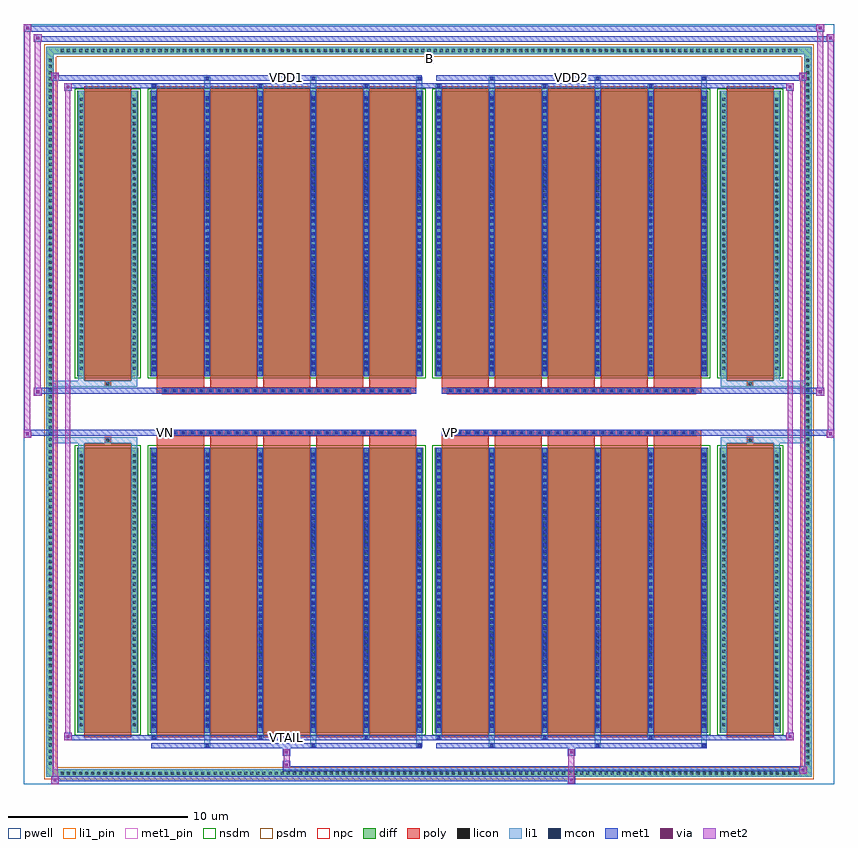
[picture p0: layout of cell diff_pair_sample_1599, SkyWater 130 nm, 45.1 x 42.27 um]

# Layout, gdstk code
import gdstk
lib = gdstk.Library(unit=1e-6, precision=5e-09)
def R(c, l, rs):  # rectangles x0, y0, x1, y1
    for r in rs: c.add(gdstk.rectangle(r[:2], r[2:], *l))
def A(c, l, x, y, w, h, nx, ny, dx, dy):  # array of equal rectangles
    R(c, l, [(x+i*dx, y+j*dy, x+i*dx+w, y+j*dy+h) for i in range(nx) for j in range(ny)])
def P(c, l, *ps):  # polygons
    for p in ps: c.add(gdstk.Polygon(p, *l))
pwell = (64, 44)
diff = (65, 20)
poly = (66, 20)
licon = (66, 44)
li1_pin = (67, 16)
li1 = (67, 20)
mcon = (67, 44)
met1_pin = (68, 16)
met1 = (68, 20)
via = (68, 44)
met2 = (69, 20)
nsdm = (93, 44)
psdm = (94, 20)
npc = (95, 20)

diff_pair_sample_1599 = lib.new_cell('diff_pair_sample_1599')
R(diff_pair_sample_1599, pwell, [(-22.55,-20.7,22.55,21.57), (-19.87,-18.89,-0.01,-0.805), (0.01,-18.89,19.87,-0.805), (-19.87,0.805,-0.01,18.89), (0.01,0.805,19.87,18.89)])
A(diff_pair_sample_1599, diff, -20.605, -20.3, 0.41, 0.41, 121, 2, 0.34, 40.19)
A(diff_pair_sample_1599, diff, -21.28, -19.755, 0.41, 0.41, 1, 116, 0, 0.34)
A(diff_pair_sample_1599, diff, 20.87, -19.755, 0.41, 0.41, 1, 116, 0, 0.34)
R(diff_pair_sample_1599, diff, [(-20.605,-20.3,20.605,-19.89), (-21.28,-19.755,-20.87,19.755), (20.87,-19.755,21.28,19.755), (-19.56,-17.845,-16.16,-1.985), (-15.52,-17.845,-0.32,-1.985), (0.32,-17.845,15.52,-1.985), (16.16,-17.845,19.56,-1.985), (-19.56,1.985,-16.16,17.845), (-15.52,1.985,-0.32,17.845), (0.32,1.985,15.52,17.845), (16.16,1.985,19.56,17.845), (-20.605,19.89,20.605,20.3)])
P(diff_pair_sample_1599, diff, [(21.28,20.3),(-21.28,20.3),(-21.28,-19.89),(-20.87,-19.89),(-20.87,19.89),(20.87,19.89),(20.87,-19.89),(-20.87,-19.89),(-21.28,-19.89),(-21.28,-20.3),(21.28,-20.3)])
A(diff_pair_sample_1599, poly, -15.13, -18.095, 2.62, 16.36, 5, 2, 2.95, 19.83)
A(diff_pair_sample_1599, poly, 0.71, -18.095, 2.62, 16.36, 5, 2, 2.95, 19.83)
A(diff_pair_sample_1599, poly, -15.13, -1.735, 2.62, 0.4, 5, 2, 2.95, 3.07)
A(diff_pair_sample_1599, poly, 0.71, -1.735, 2.62, 0.4, 5, 2, 2.95, 3.07)
A(diff_pair_sample_1599, poly, -14.835, -1.335, 0.33, 0.33, 28, 2, 0.5, 2.34)
A(diff_pair_sample_1599, poly, 1.005, -1.335, 0.33, 0.33, 28, 2, 0.5, 2.34)
R(diff_pair_sample_1599, poly, [(-19.17,-18.095,-16.55,-1.735), (16.55,-18.095,19.17,-1.735), (-18.025,-1.735,-17.695,-1.405), (-18.025,-1.735,-17.695,-1.405), (17.695,-1.735,18.025,-1.405), (17.695,-1.735,18.025,-1.405), (-15.13,-1.335,-0.71,-1.005), (0.71,-1.335,15.13,-1.005), (-15.13,1.005,-0.71,1.335), (0.71,1.005,15.13,1.335), (-18.025,1.405,-17.695,1.735), (-18.025,1.405,-17.695,1.735), (17.695,1.405,18.025,1.735), (17.695,1.405,18.025,1.735), (-19.17,1.735,-16.55,18.095), (16.55,1.735,19.17,18.095)])
A(diff_pair_sample_1599, licon, -20.485, -20.18, 0.17, 0.17, 121, 2, 0.34, 40.19)
A(diff_pair_sample_1599, licon, -21.16, -19.635, 0.17, 0.17, 1, 116, 0, 0.34)
A(diff_pair_sample_1599, licon, 20.99, -19.635, 0.17, 0.17, 1, 116, 0, 0.34)
A(diff_pair_sample_1599, licon, -19.42, -17.48, 0.17, 0.17, 1, 45, 0, 0.34)
A(diff_pair_sample_1599, licon, -16.47, -17.48, 0.17, 0.17, 1, 45, 0, 0.34)
A(diff_pair_sample_1599, licon, -15.38, -17.48, 0.17, 0.17, 6, 45, 2.95, 0.34)
A(diff_pair_sample_1599, licon, 0.46, -17.48, 0.17, 0.17, 6, 45, 2.95, 0.34)
A(diff_pair_sample_1599, licon, 16.3, -17.48, 0.17, 0.17, 1, 45, 0, 0.34)
A(diff_pair_sample_1599, licon, 19.25, -17.48, 0.17, 0.17, 1, 45, 0, 0.34)
A(diff_pair_sample_1599, licon, -14.755, -1.255, 0.17, 0.17, 28, 2, 0.5, 2.34)
A(diff_pair_sample_1599, licon, 1.085, -1.255, 0.17, 0.17, 28, 2, 0.5, 2.34)
A(diff_pair_sample_1599, licon, -19.42, 2.35, 0.17, 0.17, 1, 45, 0, 0.34)
A(diff_pair_sample_1599, licon, -16.47, 2.35, 0.17, 0.17, 1, 45, 0, 0.34)
A(diff_pair_sample_1599, licon, -15.38, 2.35, 0.17, 0.17, 6, 45, 2.95, 0.34)
A(diff_pair_sample_1599, licon, 0.46, 2.35, 0.17, 0.17, 6, 45, 2.95, 0.34)
A(diff_pair_sample_1599, licon, 16.3, 2.35, 0.17, 0.17, 1, 45, 0, 0.34)
A(diff_pair_sample_1599, licon, 19.25, 2.35, 0.17, 0.17, 1, 45, 0, 0.34)
R(diff_pair_sample_1599, licon, [(-17.945,-1.655,-17.775,-1.485), (17.775,-1.655,17.945,-1.485), (-17.945,1.485,-17.775,1.655), (17.775,1.485,17.945,1.655)])
R(diff_pair_sample_1599, li1_pin, [(-0.25,19.39,0.25,19.89)])
A(diff_pair_sample_1599, li1, -20.565, -20.26, 0.33, 0.33, 121, 2, 0.34, 40.19)
A(diff_pair_sample_1599, li1, -21.24, -19.715, 0.33, 0.33, 1, 116, 0, 0.34)
A(diff_pair_sample_1599, li1, 20.91, -19.715, 0.33, 0.33, 1, 116, 0, 0.34)
A(diff_pair_sample_1599, li1, -12.51, -18.65, 0.33, 0.805, 3, 2, 5.9, 36.495)
A(diff_pair_sample_1599, li1, -12.43, -18.65, 0.17, 0.17, 3, 2, 5.9, 37.13)
A(diff_pair_sample_1599, li1, 3.33, -18.65, 0.33, 0.805, 3, 2, 5.9, 36.495)
A(diff_pair_sample_1599, li1, 3.41, -18.65, 0.17, 0.17, 3, 2, 5.9, 37.13)
A(diff_pair_sample_1599, li1, -15.46, -18.22, 0.33, 0.375, 3, 2, 5.9, 36.065)
A(diff_pair_sample_1599, li1, -15.38, -18.22, 0.17, 0.17, 3, 2, 5.9, 36.27)
A(diff_pair_sample_1599, li1, 0.38, -18.22, 0.33, 0.375, 3, 2, 5.9, 36.065)
A(diff_pair_sample_1599, li1, 0.46, -18.22, 0.17, 0.17, 3, 2, 5.9, 36.27)
A(diff_pair_sample_1599, li1, -15.46, -17.845, 0.33, 15.86, 6, 2, 2.95, 19.83)
A(diff_pair_sample_1599, li1, 0.38, -17.845, 0.33, 15.86, 6, 2, 2.95, 19.83)
A(diff_pair_sample_1599, li1, -19.5, -17.56, 0.33, 0.33, 1, 45, 0, 0.34)
A(diff_pair_sample_1599, li1, -16.55, -17.56, 0.33, 0.33, 1, 45, 0, 0.34)
A(diff_pair_sample_1599, li1, -15.46, -17.56, 0.33, 0.33, 6, 45, 2.95, 0.34)
A(diff_pair_sample_1599, li1, -15.38, -17.56, 0.17, 0.17, 6, 43, 2.95, 0.36)
A(diff_pair_sample_1599, li1, -15.38, -17.56, 0.17, 15.29, 6, 2, 2.95, 19.83)
A(diff_pair_sample_1599, li1, 0.38, -17.56, 0.33, 0.33, 6, 45, 2.95, 0.34)
A(diff_pair_sample_1599, li1, 0.46, -17.56, 0.17, 0.17, 6, 43, 2.95, 0.36)
A(diff_pair_sample_1599, li1, 0.46, -17.56, 0.17, 15.29, 6, 2, 2.95, 19.83)
A(diff_pair_sample_1599, li1, 16.22, -17.56, 0.33, 0.33, 1, 45, 0, 0.34)
A(diff_pair_sample_1599, li1, 19.17, -17.56, 0.33, 0.33, 1, 45, 0, 0.34)
A(diff_pair_sample_1599, li1, -14.835, -1.335, 0.33, 0.33, 28, 2, 0.5, 2.34)
A(diff_pair_sample_1599, li1, 1.005, -1.335, 0.33, 0.33, 28, 2, 0.5, 2.34)
A(diff_pair_sample_1599, li1, -19.5, 2.27, 0.33, 0.33, 1, 45, 0, 0.34)
A(diff_pair_sample_1599, li1, -16.55, 2.27, 0.33, 0.33, 1, 45, 0, 0.34)
A(diff_pair_sample_1599, li1, -15.46, 2.27, 0.33, 0.33, 6, 45, 2.95, 0.34)
A(diff_pair_sample_1599, li1, -15.38, 2.27, 0.17, 0.17, 6, 43, 2.95, 0.36)
A(diff_pair_sample_1599, li1, 0.38, 2.27, 0.33, 0.33, 6, 45, 2.95, 0.34)
A(diff_pair_sample_1599, li1, 0.46, 2.27, 0.17, 0.17, 6, 43, 2.95, 0.36)
A(diff_pair_sample_1599, li1, 16.22, 2.27, 0.33, 0.33, 1, 45, 0, 0.34)
A(diff_pair_sample_1599, li1, 19.17, 2.27, 0.33, 0.33, 1, 45, 0, 0.34)
R(diff_pair_sample_1599, li1, [(-21.28,-20.3,-20.87,-19.89), (-21.28,-20.3,-20.87,-19.89), (-20.87,-20.3,20.87,-19.89), (20.87,-20.3,21.28,-19.89), (20.87,-20.3,21.28,-19.89), (-21.28,-19.89,-20.87,19.89), (20.87,-19.89,21.28,19.89), (-19.5,-17.845,-19.17,-1.985), (-16.55,-17.845,-16.22,-1.985), (16.22,-17.845,16.55,-1.985), (19.17,-17.845,19.5,-1.985), (-19.5,-1.985,-19.17,-1.405), (-16.55,-1.985,-16.22,-1.405), (16.22,-1.985,16.55,-1.405), (19.17,-1.985,19.5,-1.405), (-21.28,-1.735,-18.025,-1.405), (-19.5,-1.735,-18.025,-1.405), (-18.025,-1.735,-17.695,-1.405), (-17.695,-1.735,-16.22,-1.405), (16.22,-1.735,17.695,-1.405), (17.695,-1.735,18.025,-1.405), (17.695,-1.735,21.28,-1.405), (18.025,-1.735,19.5,-1.405), (-21.28,1.405,-18.025,1.735), (-19.5,1.405,-18.025,1.735), (-19.5,1.405,-19.17,1.985), (-18.025,1.405,-17.695,1.735), (-17.695,1.405,-16.22,1.735), (-16.55,1.405,-16.22,1.985), (16.22,1.405,17.695,1.735), (16.22,1.405,16.55,1.985), (17.695,1.405,18.025,1.735), (17.695,1.405,21.28,1.735), (18.025,1.405,19.5,1.735), (19.17,1.405,19.5,1.985), (-19.5,1.985,-19.17,17.845), (-16.55,1.985,-16.22,17.845), (16.22,1.985,16.55,17.845), (19.17,1.985,19.5,17.845), (-21.28,19.89,-20.87,20.3), (-21.28,19.89,-20.87,20.3), (-20.87,19.89,20.87,20.3), (20.87,19.89,21.28,20.3), (20.87,19.89,21.28,20.3)])
A(diff_pair_sample_1599, mcon, -12.43, -18.65, 0.17, 0.17, 3, 2, 5.9, 37.13)
A(diff_pair_sample_1599, mcon, 3.41, -18.65, 0.17, 0.17, 3, 2, 5.9, 37.13)
A(diff_pair_sample_1599, mcon, -15.38, -18.22, 0.17, 0.17, 3, 2, 5.9, 36.27)
A(diff_pair_sample_1599, mcon, 0.46, -18.22, 0.17, 0.17, 3, 2, 5.9, 36.27)
A(diff_pair_sample_1599, mcon, -15.38, -17.56, 0.17, 0.17, 6, 43, 2.95, 0.36)
A(diff_pair_sample_1599, mcon, 0.46, -17.56, 0.17, 0.17, 6, 43, 2.95, 0.36)
A(diff_pair_sample_1599, mcon, -14.755, -1.255, 0.17, 0.17, 28, 2, 0.5, 2.34)
A(diff_pair_sample_1599, mcon, 1.085, -1.255, 0.17, 0.17, 28, 2, 0.5, 2.34)
A(diff_pair_sample_1599, mcon, -15.38, 2.27, 0.17, 0.17, 6, 43, 2.95, 0.36)
A(diff_pair_sample_1599, mcon, 0.46, 2.27, 0.17, 0.17, 6, 43, 2.95, 0.36)
R(diff_pair_sample_1599, met1_pin, [(-8.055,-18.26,-7.785,-17.99), (-14.805,-1.295,-14.535,-1.025), (1.035,-1.295,1.305,-1.025), (-8.055,18.44,-7.785,18.71), (7.785,18.44,8.055,18.71)])
A(diff_pair_sample_1599, met1, -12.49, -18.71, 0.29, 0.29, 3, 2, 5.9, 37.13)
A(diff_pair_sample_1599, met1, 3.35, -18.71, 0.29, 0.29, 3, 2, 5.9, 37.13)
A(diff_pair_sample_1599, met1, -15.44, -18.28, 0.29, 0.29, 3, 2, 5.9, 36.27)
A(diff_pair_sample_1599, met1, 0.4, -18.28, 0.29, 0.29, 3, 2, 5.9, 36.27)
A(diff_pair_sample_1599, met1, -15.44, -17.845, 0.29, 15.86, 6, 2, 2.95, 19.83)
A(diff_pair_sample_1599, met1, 0.4, -17.845, 0.29, 15.86, 6, 2, 2.95, 19.83)
A(diff_pair_sample_1599, met1, -15.44, -17.62, 0.29, 0.29, 6, 43, 2.95, 0.36)
A(diff_pair_sample_1599, met1, 0.4, -17.62, 0.29, 0.29, 6, 43, 2.95, 0.36)
A(diff_pair_sample_1599, met1, -14.815, -1.315, 0.29, 0.29, 28, 2, 0.5, 2.34)
A(diff_pair_sample_1599, met1, 1.025, -1.315, 0.29, 0.29, 28, 2, 0.5, 2.34)
A(diff_pair_sample_1599, met1, -15.44, 2.21, 0.29, 0.29, 6, 43, 2.95, 0.36)
A(diff_pair_sample_1599, met1, 0.4, 2.21, 0.29, 0.29, 6, 43, 2.95, 0.36)
R(diff_pair_sample_1599, met1, [(-21.01,-20.7,-20.58,-20.27), (7.705,-20.7,8.135,-20.27), (-21.01,-20.56,8.135,-20.27), (20.58,-20.13,21.01,-19.7), (-8.135,-19.99,21.01,-19.7), (-8.135,-19.85,-7.705,-19.42), (-8.135,-19.14,-7.705,-18.71), (7.705,-19.14,8.135,-18.71), (-15.44,-18.71,-0.4,-18.42), (0.4,-18.71,15.44,-18.42), (-20.3,-18.28,-19.87,-17.85), (-20.3,-18.28,-15.44,-17.99), (-15.44,-18.28,-0.4,-17.99), (-0.4,-18.28,0.4,-17.99), (0.4,-18.28,15.44,-17.99), (15.44,-18.28,20.3,-17.99), (19.87,-18.28,20.3,-17.85), (-22.55,-1.435,-22.12,-1.005), (22.12,-1.435,22.55,-1.005), (-22.55,-1.335,-0.71,-1.005), (-15.13,-1.335,-0.71,-1.005), (0.71,-1.335,15.13,-1.005), (0.71,-1.335,22.55,-1.005), (-21.98,0.905,-21.55,1.335), (21.55,0.905,21.98,1.335), (-21.98,1.005,-15.13,1.335), (-15.13,1.005,-0.71,1.335), (0.71,1.005,15.13,1.335), (15.13,1.005,21.98,1.335), (-20.3,17.85,-19.87,18.28), (19.87,17.85,20.3,18.28), (-20.3,17.99,-15.44,18.28), (-15.44,17.99,-0.4,18.28), (-0.4,17.99,0.4,18.28), (0.4,17.99,15.44,18.28), (15.44,17.99,20.3,18.28), (-21.01,18.42,-20.58,18.85), (-21.01,18.42,-15.44,18.71), (-15.44,18.42,-0.4,18.71), (0.4,18.42,15.44,18.71), (15.44,18.42,21.01,18.71), (20.58,18.42,21.01,18.85), (-21.98,20.57,-21.55,21), (-21.98,20.57,-19.87,20.9), (-19.87,20.57,19.87,20.9), (19.87,20.57,22.55,20.9), (22.12,20.57,22.55,21), (-22.55,21.14,-22.12,21.57), (-22.55,21.14,-19.87,21.47), (-19.87,21.14,19.87,21.47), (19.87,21.14,21.98,21.47), (21.55,21.14,21.98,21.57)])
R(diff_pair_sample_1599, via, [(-20.87,-20.56,-20.72,-20.41), (7.845,-20.56,7.995,-20.41), (20.72,-19.99,20.87,-19.84), (-7.995,-19.71,-7.845,-19.56), (-7.995,-19,-7.845,-18.85), (7.845,-19,7.995,-18.85), (-20.16,-18.14,-20.01,-17.99), (20.01,-18.14,20.16,-17.99), (-22.41,-1.295,-22.26,-1.145), (22.26,-1.295,22.41,-1.145), (-21.84,1.045,-21.69,1.195), (21.69,1.045,21.84,1.195), (-20.16,17.99,-20.01,18.14), (20.01,17.99,20.16,18.14), (-20.87,18.56,-20.72,18.71), (20.72,18.56,20.87,18.71), (-21.84,20.71,-21.69,20.86), (22.26,20.71,22.41,20.86), (-22.41,21.28,-22.26,21.43), (21.69,21.28,21.84,21.43)])
R(diff_pair_sample_1599, met2, [(-21.01,-20.7,-20.58,-20.27), (-20.94,-20.7,-20.65,18.85), (-20.65,-20.7,-20.58,-20.27), (-20.96,-20.65,-20.63,-20.32), (7.755,-20.65,8.085,-20.32), (7.755,-20.32,8.085,-19.09), (20.58,-20.13,21.01,-19.7), (20.65,-20.13,20.94,18.85), (20.94,-20.13,21.01,-19.7), (20.63,-20.08,20.96,-19.75), (-8.085,-19.8,-7.755,-19.47), (-8.085,-19.47,-7.755,-19.09), (-8.085,-19.09,-7.755,-18.76), (7.755,-19.09,8.085,-18.76), (-20.3,-18.28,-19.87,-17.85), (-20.23,-18.28,-19.94,18.28), (-19.94,-18.28,-19.87,-17.85), (19.87,-18.28,20.3,-17.85), (19.94,-18.28,20.23,18.28), (20.23,-18.28,20.3,-17.85), (-20.25,-18.23,-19.92,-17.9), (19.92,-18.23,20.25,-17.9), (-22.55,-1.435,-22.12,-1.005), (-22.5,-1.435,-22.17,21.57), (-22.17,-1.435,-22.12,-1.005), (22.12,-1.435,22.55,-1.005), (22.17,-1.435,22.5,21), (22.5,-1.435,22.55,-1.005), (-22.5,-1.385,-22.17,-1.055), (22.17,-1.385,22.5,-1.055), (-21.98,0.905,-21.55,1.335), (-21.93,0.905,-21.6,21), (-21.6,0.905,-21.55,1.335), (21.55,0.905,21.98,1.335), (21.6,0.905,21.93,21.57), (21.93,0.905,21.98,1.335), (-21.93,0.955,-21.6,1.285), (21.6,0.955,21.93,1.285), (-20.3,17.85,-19.87,18.28), (-19.94,17.85,-19.87,18.28), (19.87,17.85,20.3,18.28), (20.23,17.85,20.3,18.28), (-20.25,17.9,-19.92,18.23), (19.92,17.9,20.25,18.23), (-21.01,18.42,-20.58,18.85), (-20.65,18.42,-20.58,18.85), (20.58,18.42,21.01,18.85), (20.94,18.42,21.01,18.85), (-20.96,18.47,-20.63,18.8), (20.63,18.47,20.96,18.8), (-21.98,20.57,-21.55,21), (-21.6,20.57,-21.55,21), (22.12,20.57,22.55,21), (22.5,20.57,22.55,21), (-21.93,20.62,-21.6,20.95), (22.17,20.62,22.5,20.95), (-22.55,21.14,-22.12,21.57), (-22.17,21.14,-22.12,21.57), (21.55,21.14,21.98,21.57), (21.93,21.14,21.98,21.57), (-22.5,21.19,-22.17,21.52), (21.6,21.19,21.93,21.52)])
R(diff_pair_sample_1599, nsdm, [(-19.69,-17.975,-16.03,-1.855), (-15.65,-17.975,-0.19,-1.855), (0.19,-17.975,15.65,-1.855), (16.03,-17.975,19.69,-1.855), (-19.69,1.855,-16.03,17.975), (-15.65,1.855,-0.19,17.975), (0.19,1.855,15.65,17.975), (16.03,1.855,19.69,17.975)])
P(diff_pair_sample_1599, psdm, [(21.41,20.43),(-21.41,20.43),(-21.41,-19.76),(-20.74,-19.76),(-20.74,19.76),(20.74,19.76),(20.74,-19.76),(-20.74,-19.76),(-21.41,-19.76),(-21.41,-20.43),(21.41,-20.43)])
A(diff_pair_sample_1599, npc, -14.855, -1.355, 0.37, 0.37, 28, 2, 0.5, 2.34)
A(diff_pair_sample_1599, npc, 0.985, -1.355, 0.37, 0.37, 28, 2, 0.5, 2.34)
R(diff_pair_sample_1599, npc, [(-18.045,-1.755,-17.675,-1.385), (17.675,-1.755,18.045,-1.385), (-14.855,-1.355,-13.985,-0.985), (-14.855,-1.355,-13.985,-0.985), (-14.355,-1.355,-13.485,-0.985), (-14.355,-1.355,-13.485,-0.985), (-13.855,-1.355,-12.985,-0.985), (-13.855,-1.355,-12.985,-0.985), (-13.355,-1.355,-12.485,-0.985), (-13.355,-1.355,-12.485,-0.985), (-12.855,-1.355,-11.985,-0.985), (-12.855,-1.355,-11.985,-0.985), (-12.355,-1.355,-11.485,-0.985), (-12.355,-1.355,-11.485,-0.985), (-11.855,-1.355,-10.985,-0.985), (-11.855,-1.355,-10.985,-0.985), (-11.355,-1.355,-10.485,-0.985), (-11.355,-1.355,-10.485,-0.985), (-10.855,-1.355,-9.985,-0.985), (-10.855,-1.355,-9.985,-0.985), (-10.355,-1.355,-9.485,-0.985), (-10.355,-1.355,-9.485,-0.985), (-9.855,-1.355,-8.985,-0.985), (-9.855,-1.355,-8.985,-0.985), (-9.355,-1.355,-8.485,-0.985), (-9.355,-1.355,-8.485,-0.985), (-8.855,-1.355,-7.985,-0.985), (-8.855,-1.355,-7.985,-0.985), (-8.355,-1.355,-7.485,-0.985), (-8.355,-1.355,-7.485,-0.985), (-7.855,-1.355,-6.985,-0.985), (-7.855,-1.355,-6.985,-0.985), (-7.355,-1.355,-6.485,-0.985), (-7.355,-1.355,-6.485,-0.985), (-6.855,-1.355,-5.985,-0.985), (-6.855,-1.355,-5.985,-0.985), (-6.355,-1.355,-5.485,-0.985), (-6.355,-1.355,-5.485,-0.985), (-5.855,-1.355,-4.985,-0.985), (-5.855,-1.355,-4.985,-0.985), (-5.355,-1.355,-4.485,-0.985), (-5.355,-1.355,-4.485,-0.985), (-4.855,-1.355,-3.985,-0.985), (-4.855,-1.355,-3.985,-0.985), (-4.355,-1.355,-3.485,-0.985), (-4.355,-1.355,-3.485,-0.985), (-3.855,-1.355,-2.985,-0.985), (-3.855,-1.355,-2.985,-0.985), (-3.355,-1.355,-2.485,-0.985), (-3.355,-1.355,-2.485,-0.985), (-2.855,-1.355,-1.985,-0.985), (-2.855,-1.355,-1.985,-0.985), (-2.355,-1.355,-1.485,-0.985), (-2.355,-1.355,-1.485,-0.985), (-1.855,-1.355,-0.985,-0.985), (-1.855,-1.355,-0.985,-0.985), (0.985,-1.355,1.855,-0.985), (0.985,-1.355,1.855,-0.985), (1.485,-1.355,2.355,-0.985), (1.485,-1.355,2.355,-0.985), (1.985,-1.355,2.855,-0.985), (1.985,-1.355,2.855,-0.985), (2.485,-1.355,3.355,-0.985), (2.485,-1.355,3.355,-0.985), (2.985,-1.355,3.855,-0.985), (2.985,-1.355,3.855,-0.985), (3.485,-1.355,4.355,-0.985), (3.485,-1.355,4.355,-0.985), (3.985,-1.355,4.855,-0.985), (3.985,-1.355,4.855,-0.985), (4.485,-1.355,5.355,-0.985), (4.485,-1.355,5.355,-0.985), (4.985,-1.355,5.855,-0.985), (4.985,-1.355,5.855,-0.985), (5.485,-1.355,6.355,-0.985), (5.485,-1.355,6.355,-0.985), (5.985,-1.355,6.855,-0.985), (5.985,-1.355,6.855,-0.985), (6.485,-1.355,7.355,-0.985), (6.485,-1.355,7.355,-0.985), (6.985,-1.355,7.855,-0.985), (6.985,-1.355,7.855,-0.985), (7.485,-1.355,8.355,-0.985), (7.485,-1.355,8.355,-0.985), (7.985,-1.355,8.855,-0.985), (7.985,-1.355,8.855,-0.985), (8.485,-1.355,9.355,-0.985), (8.485,-1.355,9.355,-0.985), (8.985,-1.355,9.855,-0.985), (8.985,-1.355,9.855,-0.985), (9.485,-1.355,10.355,-0.985), (9.485,-1.355,10.355,-0.985), (9.985,-1.355,10.855,-0.985), (9.985,-1.355,10.855,-0.985), (10.485,-1.355,11.355,-0.985), (10.485,-1.355,11.355,-0.985), (10.985,-1.355,11.855,-0.985), (10.985,-1.355,11.855,-0.985), (11.485,-1.355,12.355,-0.985), (11.485,-1.355,12.355,-0.985), (11.985,-1.355,12.855,-0.985), (11.985,-1.355,12.855,-0.985), (12.485,-1.355,13.355,-0.985), (12.485,-1.355,13.355,-0.985), (12.985,-1.355,13.855,-0.985), (12.985,-1.355,13.855,-0.985), (13.485,-1.355,14.355,-0.985), (13.485,-1.355,14.355,-0.985), (13.985,-1.355,14.855,-0.985), (13.985,-1.355,14.855,-0.985), (-14.855,0.985,-13.985,1.355), (-14.855,0.985,-13.985,1.355), (-14.355,0.985,-13.485,1.355), (-14.355,0.985,-13.485,1.355), (-13.855,0.985,-12.985,1.355), (-13.855,0.985,-12.985,1.355), (-13.355,0.985,-12.485,1.355), (-13.355,0.985,-12.485,1.355), (-12.855,0.985,-11.985,1.355), (-12.855,0.985,-11.985,1.355), (-12.355,0.985,-11.485,1.355), (-12.355,0.985,-11.485,1.355), (-11.855,0.985,-10.985,1.355), (-11.855,0.985,-10.985,1.355), (-11.355,0.985,-10.485,1.355), (-11.355,0.985,-10.485,1.355), (-10.855,0.985,-9.985,1.355), (-10.855,0.985,-9.985,1.355), (-10.355,0.985,-9.485,1.355), (-10.355,0.985,-9.485,1.355), (-9.855,0.985,-8.985,1.355), (-9.855,0.985,-8.985,1.355), (-9.355,0.985,-8.485,1.355), (-9.355,0.985,-8.485,1.355), (-8.855,0.985,-7.985,1.355), (-8.855,0.985,-7.985,1.355), (-8.355,0.985,-7.485,1.355), (-8.355,0.985,-7.485,1.355), (-7.855,0.985,-6.985,1.355), (-7.855,0.985,-6.985,1.355), (-7.355,0.985,-6.485,1.355), (-7.355,0.985,-6.485,1.355), (-6.855,0.985,-5.985,1.355), (-6.855,0.985,-5.985,1.355), (-6.355,0.985,-5.485,1.355), (-6.355,0.985,-5.485,1.355), (-5.855,0.985,-4.985,1.355), (-5.855,0.985,-4.985,1.355), (-5.355,0.985,-4.485,1.355), (-5.355,0.985,-4.485,1.355), (-4.855,0.985,-3.985,1.355), (-4.855,0.985,-3.985,1.355), (-4.355,0.985,-3.485,1.355), (-4.355,0.985,-3.485,1.355), (-3.855,0.985,-2.985,1.355), (-3.855,0.985,-2.985,1.355), (-3.355,0.985,-2.485,1.355), (-3.355,0.985,-2.485,1.355), (-2.855,0.985,-1.985,1.355), (-2.855,0.985,-1.985,1.355), (-2.355,0.985,-1.485,1.355), (-2.355,0.985,-1.485,1.355), (-1.855,0.985,-0.985,1.355), (-1.855,0.985,-0.985,1.355), (0.985,0.985,1.855,1.355), (0.985,0.985,1.855,1.355), (1.485,0.985,2.355,1.355), (1.485,0.985,2.355,1.355), (1.985,0.985,2.855,1.355), (1.985,0.985,2.855,1.355), (2.485,0.985,3.355,1.355), (2.485,0.985,3.355,1.355), (2.985,0.985,3.855,1.355), (2.985,0.985,3.855,1.355), (3.485,0.985,4.355,1.355), (3.485,0.985,4.355,1.355), (3.985,0.985,4.855,1.355), (3.985,0.985,4.855,1.355), (4.485,0.985,5.355,1.355), (4.485,0.985,5.355,1.355), (4.985,0.985,5.855,1.355), (4.985,0.985,5.855,1.355), (5.485,0.985,6.355,1.355), (5.485,0.985,6.355,1.355), (5.985,0.985,6.855,1.355), (5.985,0.985,6.855,1.355), (6.485,0.985,7.355,1.355), (6.485,0.985,7.355,1.355), (6.985,0.985,7.855,1.355), (6.985,0.985,7.855,1.355), (7.485,0.985,8.355,1.355), (7.485,0.985,8.355,1.355), (7.985,0.985,8.855,1.355), (7.985,0.985,8.855,1.355), (8.485,0.985,9.355,1.355), (8.485,0.985,9.355,1.355), (8.985,0.985,9.855,1.355), (8.985,0.985,9.855,1.355), (9.485,0.985,10.355,1.355), (9.485,0.985,10.355,1.355), (9.985,0.985,10.855,1.355), (9.985,0.985,10.855,1.355), (10.485,0.985,11.355,1.355), (10.485,0.985,11.355,1.355), (10.985,0.985,11.855,1.355), (10.985,0.985,11.855,1.355), (11.485,0.985,12.355,1.355), (11.485,0.985,12.355,1.355), (11.985,0.985,12.855,1.355), (11.985,0.985,12.855,1.355), (12.485,0.985,13.355,1.355), (12.485,0.985,13.355,1.355), (12.985,0.985,13.855,1.355), (12.985,0.985,13.855,1.355), (13.485,0.985,14.355,1.355), (13.485,0.985,14.355,1.355), (13.985,0.985,14.855,1.355), (13.985,0.985,14.855,1.355), (-18.045,1.385,-17.675,1.755), (17.675,1.385,18.045,1.755)])
diff_pair_sample_1599.add(gdstk.Label('VTAIL', (-7.92,-18.125), layer=68, texttype=5))
diff_pair_sample_1599.add(gdstk.Label('VN', (-14.67,-1.16), layer=68, texttype=5))
diff_pair_sample_1599.add(gdstk.Label('VP', (1.17,-1.16), layer=68, texttype=5))
diff_pair_sample_1599.add(gdstk.Label('B', (0,19.64), layer=67, texttype=5))
diff_pair_sample_1599.add(gdstk.Label('VDD2', (7.92,18.575), layer=68, texttype=5))
diff_pair_sample_1599.add(gdstk.Label('VDD1', (-7.92,18.575), layer=68, texttype=5))

lib.write_gds('diff_pair_sample_1599.gds')
